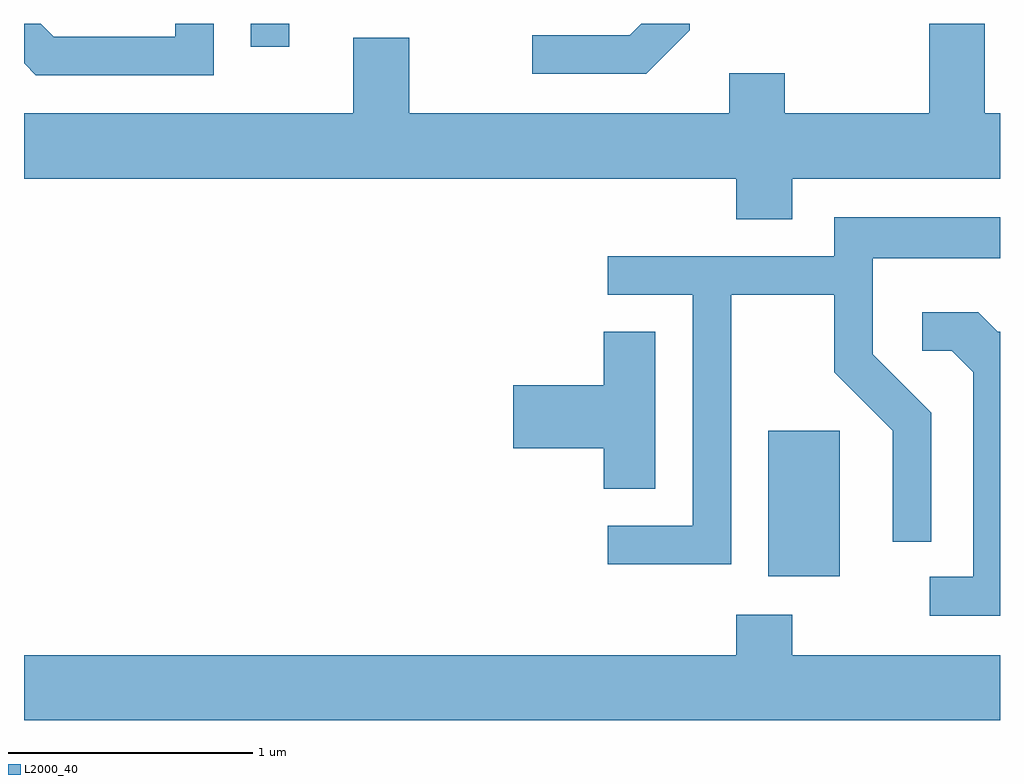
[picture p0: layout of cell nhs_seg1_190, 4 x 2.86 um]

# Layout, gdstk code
import gdstk
lib = gdstk.Library(unit=1e-6, precision=1e-09)
def R(c, l, rs):  # rectangles x0, y0, x1, y1
    for r in rs: c.add(gdstk.rectangle(r[:2], r[2:], *l))
def P(c, l, *ps):  # polygons
    for p in ps: c.add(gdstk.Polygon(p, *l))
L2000_40 = (2000, 40)

nhs_seg1_190 = lib.new_cell('nhs_seg1_190')
R(nhs_seg1_190, L2000_40, [(192.661,953.446,192.954,954.044), (190.541,955.618,190.699,955.712)])
P(nhs_seg1_190, L2000_40, [(192.759,955.076),(193.611,955.076),(193.611,955.344),(193.549,955.344),(193.549,955.712),(193.321,955.712),(193.321,955.344),(192.729,955.344),(192.729,955.509),(192.501,955.509),(192.501,955.344),(191.189,955.344),(191.189,955.654),(190.961,955.654),(190.961,955.344),(189.611,955.344),(189.611,955.076),(192.531,955.076),(192.531,954.911),(192.759,954.911)],
  [(190.389,955.712),(190.231,955.712),(190.231,955.659),(189.732,955.659),(189.679,955.712),(189.611,955.712),(189.611,955.549),(189.659,955.501),(190.389,955.501)],
  [(192.339,955.684),(192.339,955.712),(192.141,955.712),(192.094,955.664),(191.693,955.664),(191.693,955.506),(192.162,955.506)],
  [(192.509,954.601),(192.931,954.601),(192.931,954.284),(193.171,954.044),(193.171,953.588),(193.329,953.588),(193.329,954.117),(193.089,954.357),(193.089,954.751),(193.611,954.751),(193.611,954.919),(192.931,954.919),(192.931,954.759),(192.003,954.759),(192.003,954.601),(192.351,954.601),(192.351,953.654),(192.003,953.654),(192.003,953.496),(192.509,953.496)],
  [(193.611,954.449),(193.602,954.449),(193.522,954.529),(193.293,954.529),(193.293,954.371),(193.414,954.371),(193.501,954.284),(193.501,953.444),(193.323,953.444),(193.323,953.286),(193.611,953.286)],
  [(192.199,954.449),(191.986,954.449),(191.986,954.229),(191.616,954.229),(191.616,953.971),(191.986,953.971),(191.986,953.806),(192.199,953.806)],
  [(193.611,953.124),(192.759,953.124),(192.759,953.289),(192.531,953.289),(192.531,953.124),(189.611,953.124),(189.611,952.856),(193.611,952.856)])

lib.write_gds('nhs_seg1_190.gds')
